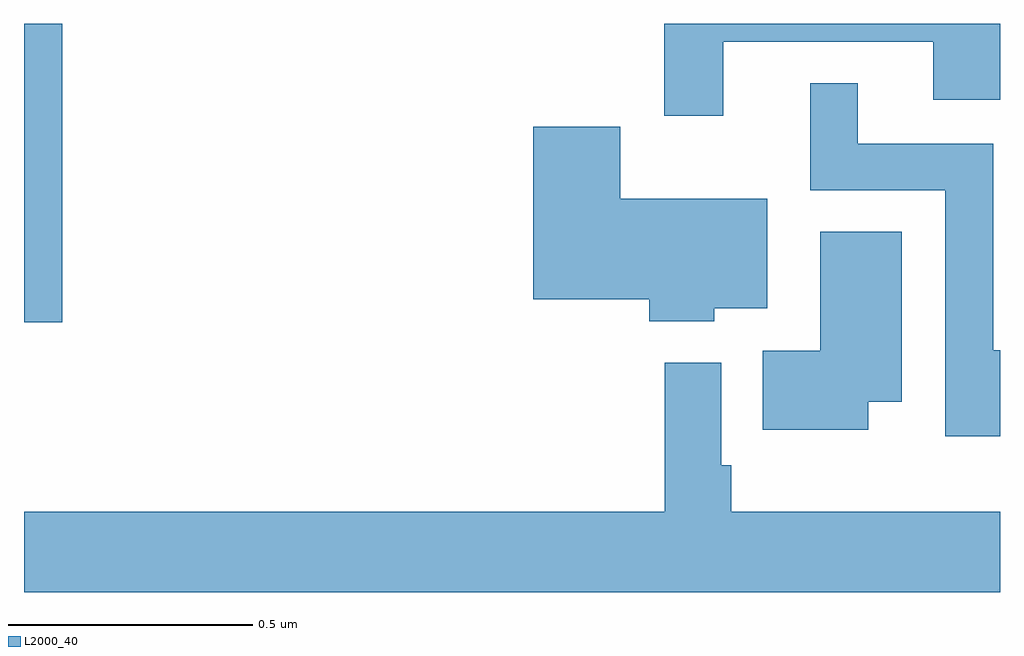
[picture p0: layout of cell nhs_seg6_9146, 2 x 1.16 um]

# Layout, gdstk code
import gdstk
lib = gdstk.Library(unit=1e-6, precision=1e-09)
def R(c, l, rs):  # rectangles x0, y0, x1, y1
    for r in rs: c.add(gdstk.rectangle(r[:2], r[2:], *l))
def P(c, l, *ps):  # polygons
    for p in ps: c.add(gdstk.Polygon(p, *l))
L2000_40 = (2000, 40)

nhs_seg6_9146 = lib.new_cell('nhs_seg6_9146')
R(nhs_seg6_9146, L2000_40, [(230,947.889,230.078,948.5)])
P(nhs_seg6_9146, L2000_40, [(231.433,948.464),(231.863,948.464),(231.863,948.345),(232,948.345),(232,948.5),(231.312,948.5),(231.312,948.312),(231.433,948.312)],
  [(232,947.831),(231.986,947.831),(231.986,948.255),(231.709,948.255),(231.709,948.379),(231.611,948.379),(231.611,948.159),(231.888,948.159),(231.888,947.655),(232,947.655)],
  [(231.414,947.918),(231.523,947.918),(231.523,948.142),(231.222,948.142),(231.222,948.289),(231.044,948.289),(231.044,947.936),(231.281,947.936),(231.281,947.891),(231.414,947.891)],
  [(231.73,947.726),(231.799,947.726),(231.799,948.074),(231.632,948.074),(231.632,947.83),(231.514,947.83),(231.514,947.669),(231.73,947.669)],
  [(232,947.5),(231.449,947.5),(231.449,947.596),(231.429,947.596),(231.429,947.806),(231.313,947.806),(231.313,947.5),(230,947.5),(230,947.336),(232,947.336)])

lib.write_gds('nhs_seg6_9146.gds')
